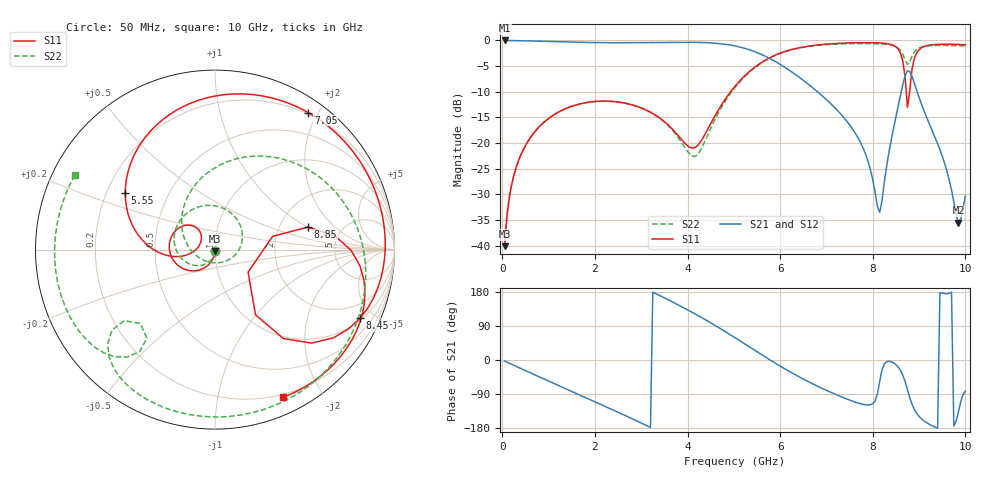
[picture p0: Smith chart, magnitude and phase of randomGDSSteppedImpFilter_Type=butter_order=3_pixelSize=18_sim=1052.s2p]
! freq	dB(S11)	phase(S11)	dB(S12)	phase(S12)
!  dB(S21)	phase(S21)	dB(S22)	phase(S22)
!S-par simulation data
#  GHz  S  DB  R 50
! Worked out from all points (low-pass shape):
!   200 points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, 50 MHz to 10 GHz, reference 50 ohm
!   highest |S21| = 0.00 dB at 50 MHz (marker M1); lowest = -35.5 dB at 9.85 GHz (marker M2)
!   |S21| within 3 dB of the highest: start of sweep to 5.661 GHz
!   lowest |S11| = -40.1 dB at 50 MHz (marker M3), VSWR 1.02, Z = 50 - j0.989 ohm
!   |S11| at or under -10 dB: start of sweep to 4.931 GHz; 8.723 GHz to 8.795 GHz (71.57 MHz wide, 0.817 % of centre)
!   |S22| runs from -40.1 to -0.6 dB; largest |S21 - S12| = 0
!   S11 on the Smith chart (normalised r, x): 50 MHz: 1.00, -0.02; 5.55 GHz: 0.28, +0.27; 7.05 GHz: 0.18, +1.88; 8.45 GHz: 1.10, -4.18; 8.85 GHz: 2.89, +1.02; 10 GHz: 0.17, -1.55
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0.05  -40.08 -91.6  -0.00 -2.9  -0.00 -2.9  -40.09 -92.5
0.2  -28.20 -99.4  -0.03 -11.3  -0.03 -11.3  -28.21 -103.0
0.5  -20.49 -114.0  -0.08 -28.0  -0.08 -28.0  -20.51 -123.0
1.75  -12.22 -169.7  -0.38 -96.6  -0.38 -96.6  -12.22 155.0
2.65  -12.24 154.9  -0.45 -146.3  -0.45 -146.3  -12.22 91.6
3.4  -15.12 132.0  -0.38 170.1  -0.38 170.1  -15.16 29.1
4.15  -20.92 162.4  -0.36 122.4  -0.36 122.4  -22.62 -97.0
5.05  -8.67 177.1  -1.12 57.0  -1.12 57.0  -8.89 111.0
5.55  -4.58 147.9  -2.55 17.9  -2.55 17.9  -4.66 63.0
6.15  -2.02 109.0  -5.53 -26.8  -5.53 -26.8  -2.07 12.9
6.7  -1.01 75.5  -9.20 -62.7  -9.20 -62.7  -1.06 -25.7
7.05  -0.69 55.7  -11.96 -82.9  -11.96 -82.9  -0.78 -47.2
7.75  -0.44 18.5  -20.17 -116.0  -20.17 -116.0  -0.61 -86.1
8.15  -0.49 -3.5  -33.52 -56.5  -33.52 -56.5  -0.69 -108.0
8.35  -0.69 -16.8  -21.75 -3.3  -21.75 -3.3  -0.85 -120.2
8.45  -0.97 -25.3  -17.05 -7.7  -17.05 -7.7  -1.06 -127.0
8.65  -4.07 -52.4  -8.56 -40.6  -8.56 -40.6  -2.74 -142.0
8.75  -13.02 -34.3  -5.92 -78.6  -5.92 -78.6  -4.66 -135.3
8.85  -5.45 13.6  -7.09 -117.7  -7.09 -117.7  -3.03 -126.4
9.1  -1.22 -15.9  -13.58 -160.0  -13.58 -160.0  -1.16 -144.9
9.85  -0.79 -57.9  -35.52 -136.5  -35.52 -136.5  -1.03 163.1
10  -0.86 -65.1  -30.34 -81.9  -30.34 -81.9  -1.07 152.0
